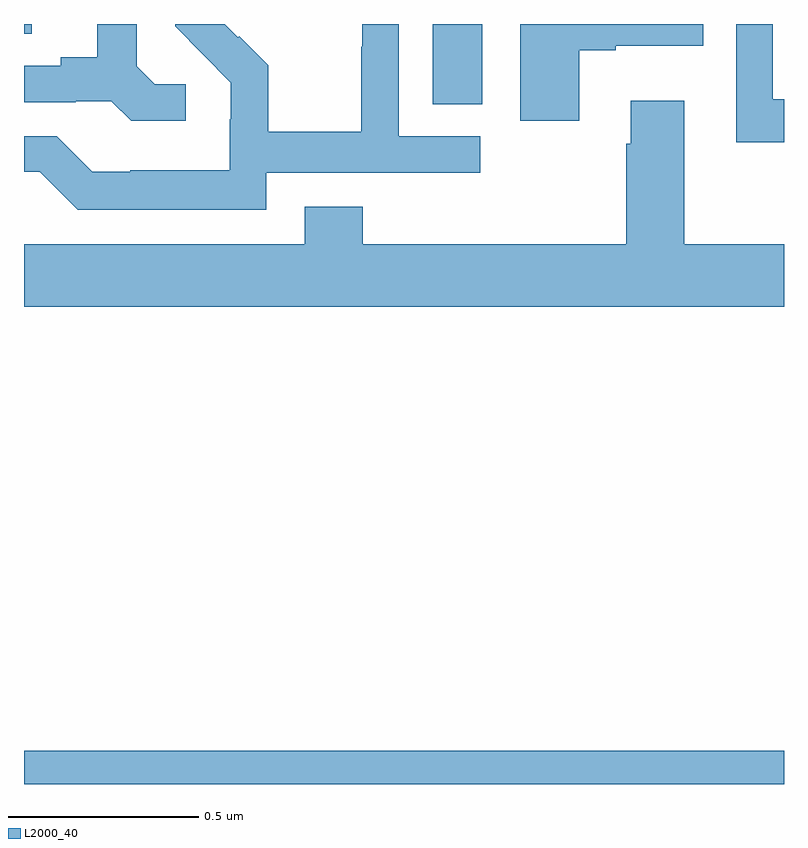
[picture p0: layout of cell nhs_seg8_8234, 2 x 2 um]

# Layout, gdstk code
import gdstk
lib = gdstk.Library(unit=1e-6, precision=1e-09)
def R(c, l, rs):  # rectangles x0, y0, x1, y1
    for r in rs: c.add(gdstk.rectangle(r[:2], r[2:], *l))
def P(c, l, *ps):  # polygons
    for p in ps: c.add(gdstk.Polygon(p, *l))
L2000_40 = (2000, 40)

nhs_seg8_8234 = lib.new_cell('nhs_seg8_8234')
R(nhs_seg8_8234, L2000_40, [(220,1125.9,222,1125.988), (221.075,1127.689,221.206,1127.9), (220,1127.875,220.021,1127.9)])
P(nhs_seg8_8234, L2000_40, [(220.426,1127.742),(220.344,1127.742),(220.297,1127.789),(220.297,1127.9),(220.193,1127.9),(220.193,1127.813),(220.097,1127.813),(220.097,1127.79),(220,1127.79),(220,1127.694),(220.136,1127.694),(220.136,1127.697),(220.23,1127.697),(220.282,1127.645),(220.426,1127.645)],
  [(222,1127.702),(221.97,1127.702),(221.97,1127.9),(221.874,1127.9),(221.874,1127.589),(222,1127.589)],
  [(220.638,1127.508),(221.2,1127.508),(221.2,1127.604),(220.986,1127.604),(220.986,1127.9),(220.89,1127.9),(220.89,1127.84),(220.888,1127.84),(220.888,1127.617),(220.643,1127.617),(220.643,1127.791),(220.566,1127.868),(220.563,1127.865),(220.528,1127.9),(220.398,1127.9),(220.398,1127.894),(220.471,1127.821),(220.47,1127.82),(220.544,1127.746),(220.544,1127.649),(220.542,1127.649),(220.542,1127.515),(220.279,1127.515),(220.279,1127.511),(220.179,1127.511),(220.086,1127.604),(220,1127.604),(220,1127.511),(220.041,1127.511),(220.141,1127.411),(220.638,1127.411)],
  [(221.461,1127.831),(221.557,1127.831),(221.557,1127.843),(221.788,1127.843),(221.788,1127.9),(221.306,1127.9),(221.306,1127.646),(221.461,1127.646)],
  [(222,1127.32),(221.737,1127.32),(221.737,1127.698),(221.597,1127.698),(221.597,1127.585),(221.585,1127.585),(221.585,1127.32),(220.892,1127.32),(220.892,1127.419),(220.739,1127.419),(220.739,1127.32),(220,1127.32),(220,1127.156),(222,1127.156)])

lib.write_gds('nhs_seg8_8234.gds')
